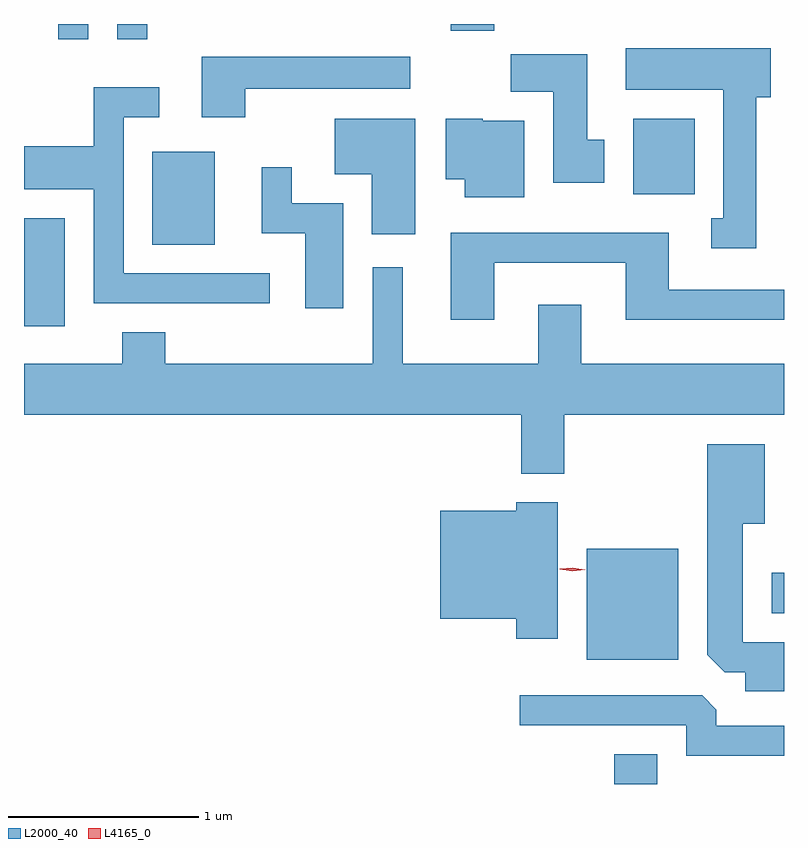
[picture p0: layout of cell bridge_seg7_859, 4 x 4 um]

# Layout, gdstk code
import gdstk
lib = gdstk.Library(unit=1e-6, precision=1e-09)
def R(c, l, rs):  # rectangles x0, y0, x1, y1
    for r in rs: c.add(gdstk.rectangle(r[:2], r[2:], *l))
def P(c, l, *ps):  # polygons
    for p in ps: c.add(gdstk.Polygon(p, *l))
L2000_40 = (2000, 40)
L4165_0 = (4165, 0)

bridge_seg7_859 = lib.new_cell('bridge_seg7_859')
R(bridge_seg7_859, L2000_40, [(222.841,1690.172,223.069,1690.329), (222.696,1690.826,223.179,1691.409), (223.671,1691.071,223.735,1691.284), (219.735,1692.581,219.949,1693.149), (220.411,1693.011,220.739,1693.499), (222.941,1693.276,223.264,1693.674), (219.916,1694.093,220.074,1694.172), (220.226,1694.093,220.384,1694.172), (221.981,1694.136,222.209,1694.172), (220.731,1694.171,221.269,1694.172)])
P(bridge_seg7_859, L2000_40, [(223.589,1693.786),(223.664,1693.786),(223.664,1694.044),(222.901,1694.044),(222.901,1693.826),(223.416,1693.826),(223.416,1693.149),(223.353,1693.149),(223.353,1692.991),(223.589,1692.991)],
  [(222.789,1693.564),(222.699,1693.564),(222.699,1694.014),(222.296,1694.014),(222.296,1693.816),(222.521,1693.816),(222.521,1693.336),(222.789,1693.336)],
  [(220.899,1693.831),(221.768,1693.831),(221.768,1693.999),(220.671,1693.999),(220.671,1693.681),(220.899,1693.681)],
  [(221.028,1692.859),(220.259,1692.859),(220.259,1693.681),(220.448,1693.681),(220.448,1693.839),(220.101,1693.839),(220.101,1693.529),(219.735,1693.529),(219.735,1693.301),(220.101,1693.301),(220.101,1692.701),(221.028,1692.701)],
  [(222.369,1693.664),(222.15,1693.664),(222.15,1693.674),(221.956,1693.674),(221.956,1693.356),(222.056,1693.356),(222.056,1693.261),(222.369,1693.261)],
  [(221.794,1693.674),(221.371,1693.674),(221.371,1693.381),(221.566,1693.381),(221.566,1693.066),(221.794,1693.066)],
  [(221.414,1693.229),(221.144,1693.229),(221.144,1693.418),(220.986,1693.418),(220.986,1693.071),(221.216,1693.071),(221.216,1692.676),(221.414,1692.676)],
  [(222.209,1692.916),(222.901,1692.916),(222.901,1692.616),(223.735,1692.616),(223.735,1692.774),(223.129,1692.774),(223.129,1693.074),(221.981,1693.074),(221.981,1692.616),(222.209,1692.616)],
  [(222.579,1692.116),(223.735,1692.116),(223.735,1692.384),(222.669,1692.384),(222.669,1692.694),(222.441,1692.694),(222.441,1692.384),(221.729,1692.384),(221.729,1692.893),(221.571,1692.893),(221.571,1692.384),(220.479,1692.384),(220.479,1692.549),(220.251,1692.549),(220.251,1692.384),(219.735,1692.384),(219.735,1692.116),(222.351,1692.116),(222.351,1691.806),(222.579,1691.806)],
  [(223.735,1690.919),(223.519,1690.919),(223.519,1691.541),(223.634,1691.541),(223.634,1691.959),(223.331,1691.959),(223.331,1690.852),(223.422,1690.761),(223.531,1690.761),(223.531,1690.661),(223.735,1690.661)],
  [(222.544,1691.654),(222.326,1691.654),(222.326,1691.609),(221.926,1691.609),(221.926,1691.041),(222.326,1691.041),(222.326,1690.936),(222.544,1690.936)],
  [(223.735,1690.479),(223.379,1690.479),(223.379,1690.564),(223.304,1690.639),(222.343,1690.639),(222.343,1690.481),(223.221,1690.481),(223.221,1690.321),(223.735,1690.321)])
P(bridge_seg7_859, L4165_0, [(222.621,1691.291),(222.556,1691.303),(222.555,1691.303),(222.556,1691.304),(222.622,1691.311),(222.688,1691.3),(222.688,1691.3),(222.688,1691.299)])

lib.write_gds('bridge_seg7_859.gds')
